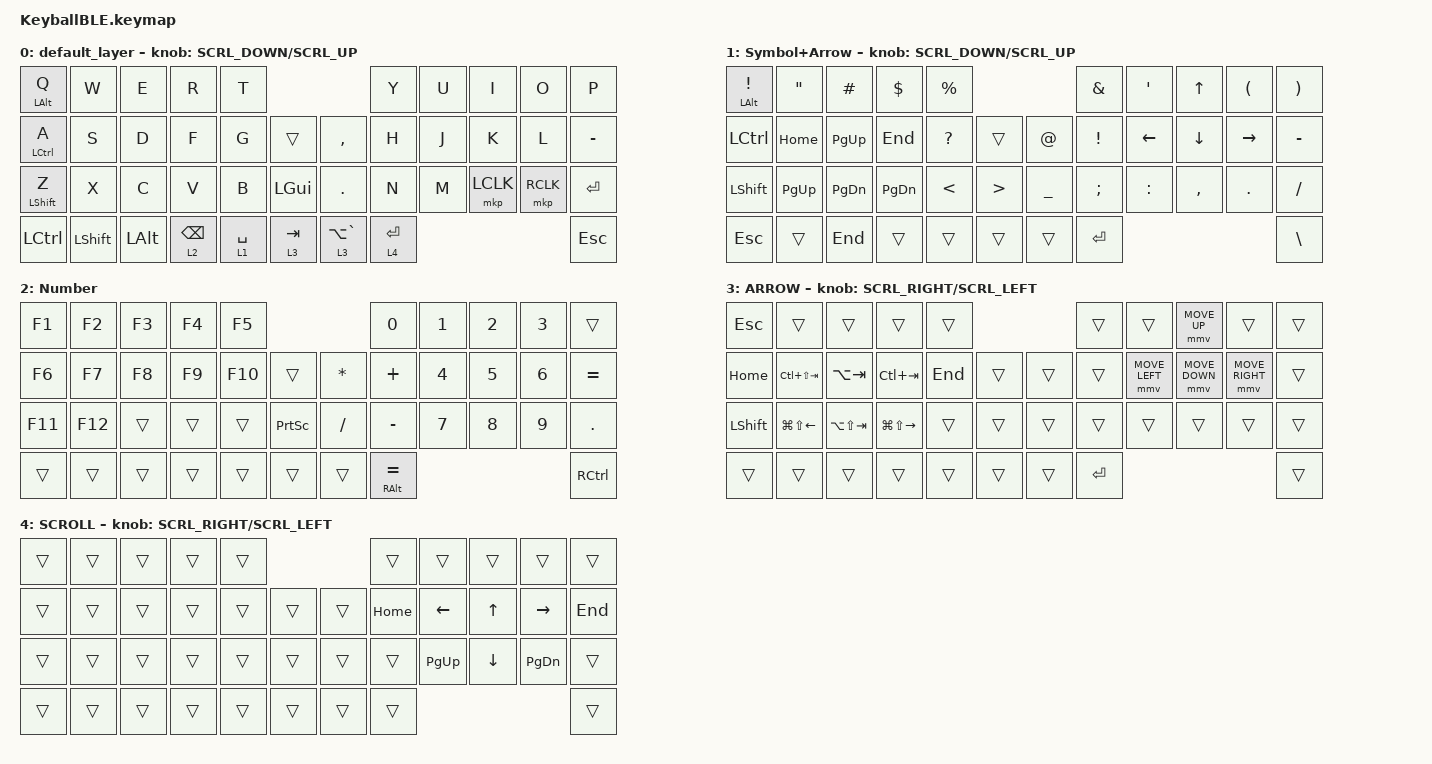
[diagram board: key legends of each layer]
#define ZMK_POINTING_DEFAULT_SCRL_VAL 120    // default: 10

#include <behaviors.dtsi>
#include <dt-bindings/zmk/keys.h>
#include <dt-bindings/zmk/pointing.h>

#define MOUSE 4
#define SCROLL 5
#define NUM 6

&mt {
    flavor = "balanced";
    quick-tap-ms = <0>;
};

/ {
    combos {
        compatible = "zmk,combos";

        double_quotation {
            bindings = <&kp DOUBLE_QUOTES>;
            key-positions = <20 21>;
        };
    };

    macros {
        to_layer_0: to_layer_0 {
            compatible = "zmk,behavior-macro-one-param";
            #binding-cells = <1>;
            bindings = <&to 0 &macro_param_1to1 &kp MACRO_PLACEHOLDER>;
            label = "TO_LAYER_0";
        };
    };

    behaviors {
        lt_to_layer_0: lt_to_layer_0 {
            compatible = "zmk,behavior-hold-tap";
            label = "LAYER_TAP_TO_0";
            bindings = <&mo>, <&to_layer_0>;

            #binding-cells = <2>;
            tapping-term-ms = <200>;
        };

        ROTATE: ROTATE {
            compatible = "zmk,behavior-sensor-rotate-var";
            label = "ROTATE";
            #sensor-binding-cells = <2>;
            bindings = <&msc>, <&msc>;

            tap-ms = <20>;
        };
    };

    keymap {
        compatible = "zmk,keymap";

        default_layer {
            bindings = <
&mt LEFT_ALT Q      &kp W           &kp E     &kp R            &kp T                                           &kp Y        &kp U  &kp I      &kp O      &kp P
&mt LEFT_CONTROL A  &kp S           &kp D     &kp F            &kp G        &trans            &kp COMMA        &kp H        &kp J  &kp K      &kp L      &kp MINUS
&mt LEFT_SHIFT Z    &kp X           &kp C     &kp V            &kp B        &kp LEFT_GUI      &kp PERIOD       &kp N        &kp M  &mkp LCLK  &mkp RCLK  &kp ENTER
&kp LCTRL           &kp LEFT_SHIFT  &kp LALT  &lt 2 BACKSPACE  &lt 1 SPACE  &lt 3 TAB         &lt 3 LA(GRAVE)  &lt 4 ENTER                               &kp ESCAPE
            >;

            sensor-bindings = <&ROTATE SCRL_DOWN SCRL_UP>;
        };

        Symbol+Arrow {
            bindings = <
&mt LALT EXCL   &kp DQT      &kp HASH       &kp DOLLAR     &kp PERCENT                          &kp AMPERSAND    &kp SQT    &kp UP     &kp LEFT_PARENTHESIS  &kp RIGHT_PARENTHESIS
&kp LCTRL       &kp HOME     &kp PAGE_UP    &kp END        &kp QUESTION  &trans      &kp AT     &kp EXCLAMATION  &kp LEFT   &kp DOWN   &kp RIGHT             &kp MINUS
&kp LEFT_SHIFT  &kp PAGE_UP  &kp PAGE_DOWN  &kp PAGE_DOWN  &kp LT        &kp GT      &kp UNDER  &kp SEMICOLON    &kp COLON  &kp COMMA  &kp PERIOD            &kp SLASH
&kp ESC         &trans       &kp END        &trans         &trans        &trans      &trans     &kp ENTER                                                    &kp BACKSLASH
            >;

            sensor-bindings = <&ROTATE SCRL_DOWN SCRL_UP>;
        };

        Number {
            bindings = <
&kp F1   &kp F2   &kp F3  &kp F4  &kp F5                                      &kp N0               &kp N1  &kp N2  &kp N3  &trans
&kp F6   &kp F7   &kp F8  &kp F9  &kp F10  &trans               &kp ASTERISK  &kp PLUS             &kp N4  &kp N5  &kp N6  &kp EQUAL
&kp F11  &kp F12  &trans  &trans  &trans   &kp PRINTSCREEN      &kp SLASH     &kp MINUS            &kp N7  &kp N8  &kp N9  &kp PERIOD
&trans   &trans   &trans  &trans  &trans   &trans               &trans        &mt RIGHT_ALT EQUAL                          &kp RIGHT_CONTROL
            >;
        };

        ARROW {
            bindings = <
&kp ESCAPE      &trans                  &trans           &trans                   &trans                       &trans     &trans          &mmv MOVE_UP    &trans           &trans
&kp HOME        &kp LC(LS(TAB))         &kp LA(TAB)      &kp LC(TAB)              &kp END  &trans      &trans  &trans     &mmv MOVE_LEFT  &mmv MOVE_DOWN  &mmv MOVE_RIGHT  &trans
&kp LEFT_SHIFT  &kp LG(LS(LEFT_ARROW))  &kp LA(LS(TAB))  &kp LG(LS(RIGHT_ARROW))  &trans   &trans      &trans  &trans     &trans          &trans          &trans           &trans
&trans          &trans                  &trans           &trans                   &trans   &trans      &trans  &kp ENTER                                                   &trans
            >;

            sensor-bindings = <&ROTATE SCRL_RIGHT SCRL_LEFT>;
        };

        SCROLL {
            bindings = <
&trans  &trans  &trans  &trans  &trans                      &trans    &trans       &trans    &trans         &trans
&trans  &trans  &trans  &trans  &trans  &trans      &trans  &kp HOME  &kp LEFT     &kp UP    &kp RIGHT      &kp END
&trans  &trans  &trans  &trans  &trans  &trans      &trans  &trans    &kp PAGE_UP  &kp DOWN  &kp PAGE_DOWN  &trans
&trans  &trans  &trans  &trans  &trans  &trans      &trans  &trans                                          &trans
            >;

            sensor-bindings = <&ROTATE SCRL_RIGHT SCRL_LEFT>;
        };
    };
};
